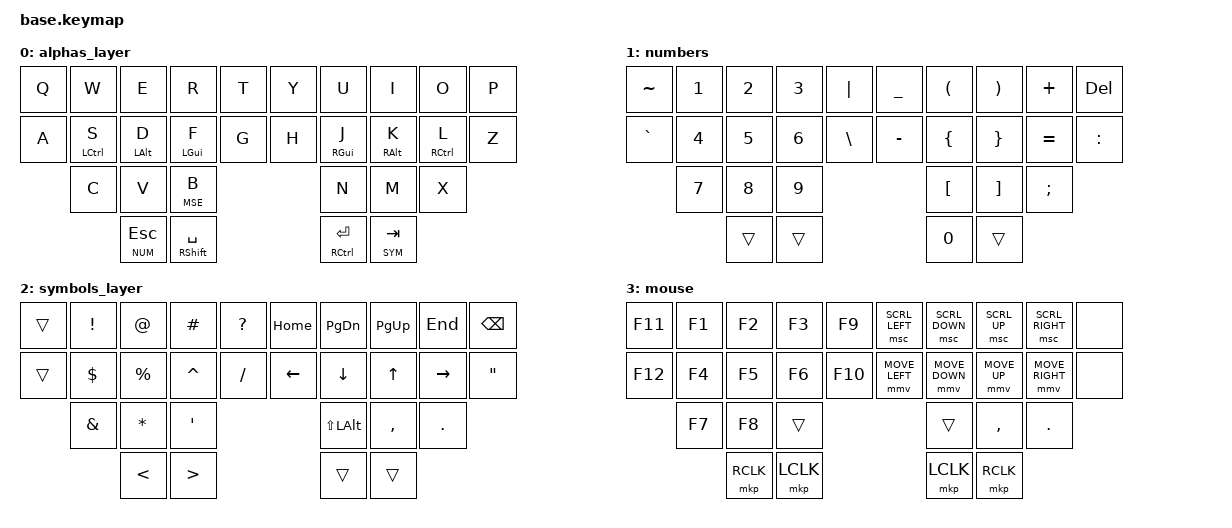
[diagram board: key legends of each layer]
#include <behaviors.dtsi>
#include <dt-bindings/zmk/keys.h>
#include <dt-bindings/zmk/mouse.h>
#include <dt-bindings/zmk/pointing.h>

/* Layers */
#define BSE 0
#define NUM 1
#define SYM 2
#define MSE 3

#define ZMK_POINTING_DEFAULT_MOVE_VAL 1500  // default: 600
#define ZMK_POINTING_DEFAULT_SCRL_VAL 20    // default: 10

&lt {
    tapping-term-ms = <200>;
};

/ {
    behaviors {
        ht: hold_tap {
            label = "hold_tap";
            compatible = "zmk,behavior-hold-tap";
            #binding-cells = <2>;
            flavor = "tap-preferred";
            tapping-term-ms = <220>;
            quick-tap-ms = <150>;
            bindings = <&kp>, <&kp>;
        };
    };

    combos {
        compatible = "zmk,combos";

        /*                 Key Positions
             0   1   2   3   4      5   6   7   8   9
            10  11  12  13  14     15  16  17  18  19
                20  21  22             23  24  25
                        26  27     28  29              */

        /* comma { key-positions = <23 24>; bindings = <&kp COMMA>; layers = <ALPHAS>; }; */
        /* dot   { key-positions = <25 25>; bindings = <&kp DOT>;   layers = <ALPHAS>; }; */

        /* slash { key-positions = <21 22>; bindings = <&kp FLSH>;  layers = <ALPHAS>; }; */
        /* quot  { key-positions = <20 21>; bindings = <&kp QUOT>;  layers = <ALPHAS>; }; */
    };


    keymap {
        compatible = "zmk,keymap";
        alphas_layer {
            bindings = <
                &kp Q     &kp W      &kp E       &kp R      &kp T       &kp Y     &kp U      &kp I      &kp O      &kp P
                &kp A     &ht LCTL S &ht LALT D  &ht LGUI F &kp G       &kp H     &ht RGUI J &ht RALT K &ht RCTL L &kp Z
                          &kp C      &kp V       &lt MSE  B                       &kp N      &kp M      &kp X
                                     &lt NUM ESC &ht RSHFT SPACE        &ht RCTRL ENTER  &lt SYM TAB
            >;
        };
        numbers {
            bindings = <
                &kp TILDE &kp N1  &kp N2  &kp N3  &kp PIPE        &kp UNDERSCORE &kp LPAR  &kp RPAR  &kp PLUS  &kp DEL
                &kp GRAVE &kp N4  &kp N5  &kp N6  &kp BSLH        &kp MINUS      &kp LBRC  &kp RBRC  &kp EQUAL &kp COLON
                          &kp N7  &kp N8  &kp N9                                 &kp LBKT  &kp RBKT  &kp SEMI 
                                          &trans  &trans          &kp N0         &trans
            >;
        };

        symbols_layer {
            bindings = <
                &trans    &kp EXCL  &kp AT    &kp HASH  &kp QMARK    &kp HOME  &kp PG_DN    &kp PG_UP &kp END   &kp BKSP
                &trans    &kp DLLR  &kp PRCNT &kp CARET &kp SLASH    &kp LEFT  &kp DOWN     &kp UP    &kp RIGHT &kp DQT
                          &kp AMPS  &kp STAR  &kp SQT                          &kp LS(LALT) &kp COMMA &kp DOT
                                              &kp LT    &kp GT       &trans    &trans
            >;
        };
        mouse {
            bindings = <
                &kp F11   &kp F1    &kp F2    &kp F3    &kp F9      &msc SCRL_LEFT &msc SCRL_DOWN &msc SCRL_UP &msc SCRL_RIGHT  &none
                &kp F12   &kp F4    &kp F5    &kp F6    &kp F10     &mmv MOVE_LEFT &mmv MOVE_DOWN &mmv MOVE_UP &mmv MOVE_RIGHT  &none
                          &kp F7    &kp F8    &trans                                &trans         &kp COMMA    &kp DOT
                                              &mkp RCLK &mkp LCLK    &mkp LCLK      &mkp RCLK
            >;
        };
    };
};
